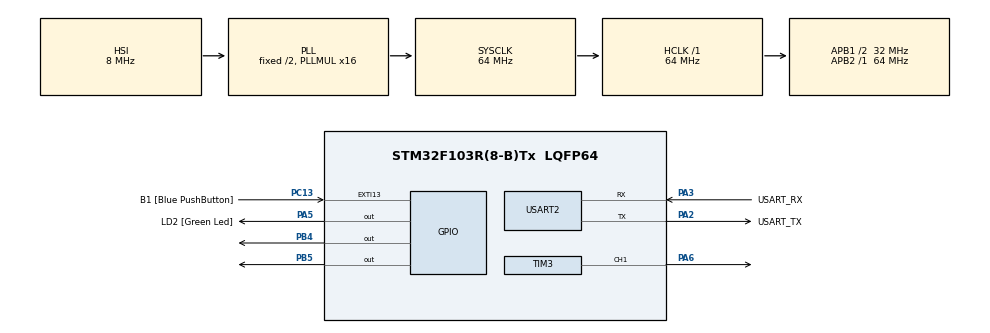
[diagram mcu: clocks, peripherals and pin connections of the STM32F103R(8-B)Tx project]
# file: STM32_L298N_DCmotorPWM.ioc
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Mcu.Family=STM32F1
Mcu.Name=STM32F103R(8-B)Tx
Mcu.Package=LQFP64
NVIC.EXTI15_10_IRQn=true\:0\:0\:false\:false\:true\:true\:true\:true
NVIC.PriorityGroup=NVIC_PRIORITYGROUP_4
PA13.GPIO_Label=TMS
PA13.Mode=Serial_Wire
PA13.Signal=SYS_JTMS-SWDIO
PA14.GPIO_Label=TCK
PA14.Mode=Serial_Wire
PA14.Signal=SYS_JTCK-SWCLK
PA2.GPIO_Label=USART_TX
PA2.GPIO_Mode=GPIO_MODE_AF_PP
PA2.GPIO_PuPd=GPIO_NOPULL
PA2.GPIO_Speed=GPIO_SPEED_FREQ_LOW
PA2.Mode=Asynchronous
PA2.Signal=USART2_TX
PA3.GPIO_Label=USART_RX
PA3.GPIO_Mode=GPIO_MODE_AF_PP
PA3.GPIO_PuPd=GPIO_NOPULL
PA3.GPIO_Speed=GPIO_SPEED_FREQ_LOW
PA3.Mode=Asynchronous
PA3.Signal=USART2_RX
PA5.GPIO_Label=LD2 [Green Led]
PA5.GPIO_ModeDefaultOutputPP=GPIO_MODE_OUTPUT_PP
PA5.GPIO_PuPd=GPIO_NOPULL
PA5.GPIO_Speed=GPIO_SPEED_FREQ_LOW
PA5.Signal=GPIO_Output
PA6.Signal=S_TIM3_CH1
PB3.GPIO_Label=SWO
PB3.Signal=SYS_JTDO-TRACESWO
PB4.Signal=GPIO_Output
PB5.Signal=GPIO_Output
PC13-TAMPER-RTC.GPIO_Label=B1 [Blue PushButton]
PC13-TAMPER-RTC.GPIO_PuPd=GPIO_NOPULL
PC13-TAMPER-RTC.Signal=GPXTI13
PC14-OSC32_IN.Mode=LSE-External-Oscillator
PC14-OSC32_IN.Signal=RCC_OSC32_IN
PC15-OSC32_OUT.Mode=LSE-External-Oscillator
PC15-OSC32_OUT.Signal=RCC_OSC32_OUT
PD0-OSC_IN.Mode=HSE-External-Oscillator
PD0-OSC_IN.Signal=RCC_OSC_IN
PD1-OSC_OUT.Mode=HSE-External-Oscillator
PD1-OSC_OUT.Signal=RCC_OSC_OUT
ProjectManager.HeapSize=0x200
ProjectManager.StackSize=0x400
ProjectManager.TargetToolchain=STM32CubeIDE
RCC.AHBFreq_Value=64000000
RCC.APB1CLKDivider=RCC_HCLK_DIV2
RCC.APB1Freq_Value=32000000
RCC.APB1TimFreq_Value=64000000
RCC.APB2Freq_Value=64000000
RCC.APB2TimFreq_Value=64000000
RCC.HCLKFreq_Value=64000000
RCC.PLLMUL=RCC_PLL_MUL16
RCC.RTCClockSelection=RCC_RTCCLKSOURCE_LSE
RCC.SYSCLKFreq_VALUE=64000000
RCC.SYSCLKSource=RCC_SYSCLKSOURCE_PLLCLK
RCC.USBFreq_Value=64000000
SH.S_TIM3_CH1.0=TIM3_CH1,PWM Generation1 CH1
TIM3.Channel-PWM\ Generation1\ CH1=TIM_CHANNEL_1
TIM3.Prescaler=71
USART2.VirtualMode=VM_ASYNC
board=NUCLEO-F103RB

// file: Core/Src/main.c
/* USER CODE BEGIN Header */
/**
  ******************************************************************************
  * @file           : main.c
  * @brief          : Main program body
  ******************************************************************************
  * @attention
  *
  * Copyright (c) 2025 STMicroelectronics.
  * All rights reserved.
  *
  * This software is licensed under terms that can be found in the LICENSE file
  * in the root directory of this software component.
  * If no LICENSE file comes with this software, it is provided AS-IS.
  *
  ******************************************************************************
  */
/* USER CODE END Header */
#include "main.h"

TIM_HandleTypeDef htim3;

UART_HandleTypeDef huart2;

/* USER CODE BEGIN PV */

#define EN_DUTY_MAX 49  // TIM3 ARR값과 동일 (0~49)

/* USER CODE END PV */

void SystemClock_Config(void);
static void MX_GPIO_Init(void);
static void MX_USART2_UART_Init(void);
static void MX_TIM3_Init(void);

/* USER CODE BEGIN 0 */

// 모터 방향 설정 함수
static void motor_forward(void) {
  HAL_GPIO_WritePin(GPIOB, GPIO_PIN_4, GPIO_PIN_SET);   // IN1=1
  HAL_GPIO_WritePin(GPIOB, GPIO_PIN_5, GPIO_PIN_RESET); // IN2=0
}

static void motor_reverse(void) {
  HAL_GPIO_WritePin(GPIOB, GPIO_PIN_4, GPIO_PIN_RESET); // IN1=0
  HAL_GPIO_WritePin(GPIOB, GPIO_PIN_5, GPIO_PIN_SET);   // IN2=1
}

static void motor_brake(void) {
  HAL_GPIO_WritePin(GPIOB, GPIO_PIN_4, GPIO_PIN_SET);   // IN1=1
  HAL_GPIO_WritePin(GPIOB, GPIO_PIN_5, GPIO_PIN_SET);   // IN2=1
}

static void motor_coast(void) {
  HAL_GPIO_WritePin(GPIOB, GPIO_PIN_4, GPIO_PIN_RESET); // IN1=0
  HAL_GPIO_WritePin(GPIOB, GPIO_PIN_5, GPIO_PIN_RESET); // IN2=0
}

// 듀티 설정 (0~EN_DUTY_MAX)
static void motor_set_duty(uint16_t duty) {
  if (duty > EN_DUTY_MAX) duty = EN_DUTY_MAX;
  __HAL_TIM_SET_COMPARE(&htim3, TIM_CHANNEL_1, duty);
}

/* USER CODE END 0 */

int main(void)
{

  /* MCU Configuration--------------------------------------------------------*/

  /* Reset of all peripherals, Initializes the Flash interface and the Systick. */
  HAL_Init();

  /* Configure the system clock */
  SystemClock_Config();

  /* Initialize all configured peripherals */
  MX_GPIO_Init();
  MX_USART2_UART_Init();
  MX_TIM3_Init();
  /* USER CODE BEGIN 2 */

  HAL_TIM_PWM_Start(&htim3, TIM_CHANNEL_1);

  /* USER CODE END 2 */

  /* Infinite loop */
  /* USER CODE BEGIN WHILE */
  while (1)
  {

	  motor_forward();
	    motor_set_duty(20); HAL_Delay(1500);
	    motor_set_duty(40); HAL_Delay(1500);

	    motor_coast(); motor_set_duty(0); HAL_Delay(1500);

	    motor_reverse();
	    motor_set_duty(25); HAL_Delay(2000);

	    motor_brake(); motor_set_duty(0); HAL_Delay(1000);

    /* USER CODE END WHILE */

  }
}

void SystemClock_Config(void)
{
  RCC_OscInitTypeDef RCC_OscInitStruct = {0};
  RCC_ClkInitTypeDef RCC_ClkInitStruct = {0};

  /** Initializes the RCC Oscillators according to the specified parameters
  * in the RCC_OscInitTypeDef structure.
  */
  RCC_OscInitStruct.OscillatorType = RCC_OSCILLATORTYPE_HSI;
  RCC_OscInitStruct.HSIState = RCC_HSI_ON;
  RCC_OscInitStruct.HSICalibrationValue = RCC_HSICALIBRATION_DEFAULT;
  RCC_OscInitStruct.PLL.PLLState = RCC_PLL_ON;
  RCC_OscInitStruct.PLL.PLLSource = RCC_PLLSOURCE_HSI_DIV2;
  RCC_OscInitStruct.PLL.PLLMUL = RCC_PLL_MUL16;
  if (HAL_RCC_OscConfig(&RCC_OscInitStruct) != HAL_OK)
  {
    Error_Handler();
  }

  /** Initializes the CPU, AHB and APB buses clocks
  */
  RCC_ClkInitStruct.ClockType = RCC_CLOCKTYPE_HCLK|RCC_CLOCKTYPE_SYSCLK
                              |RCC_CLOCKTYPE_PCLK1|RCC_CLOCKTYPE_PCLK2;
  RCC_ClkInitStruct.SYSCLKSource = RCC_SYSCLKSOURCE_PLLCLK;
  RCC_ClkInitStruct.AHBCLKDivider = RCC_SYSCLK_DIV1;
  RCC_ClkInitStruct.APB1CLKDivider = RCC_HCLK_DIV2;
  RCC_ClkInitStruct.APB2CLKDivider = RCC_HCLK_DIV1;

  if (HAL_RCC_ClockConfig(&RCC_ClkInitStruct, FLASH_LATENCY_2) != HAL_OK)
  {
    Error_Handler();
  }
}

static void MX_TIM3_Init(void)
{

  TIM_MasterConfigTypeDef sMasterConfig = {0};
  TIM_OC_InitTypeDef sConfigOC = {0};

  htim3.Instance = TIM3;
  htim3.Init.Prescaler = 71;
  htim3.Init.CounterMode = TIM_COUNTERMODE_UP;
  htim3.Init.Period = 49;
  htim3.Init.ClockDivision = TIM_CLOCKDIVISION_DIV1;
  htim3.Init.AutoReloadPreload = TIM_AUTORELOAD_PRELOAD_DISABLE;
  if (HAL_TIM_PWM_Init(&htim3) != HAL_OK)
  {
    Error_Handler();
  }
  sMasterConfig.MasterOutputTrigger = TIM_TRGO_RESET;
  sMasterConfig.MasterSlaveMode = TIM_MASTERSLAVEMODE_DISABLE;
  if (HAL_TIMEx_MasterConfigSynchronization(&htim3, &sMasterConfig) != HAL_OK)
  {
    Error_Handler();
  }
  sConfigOC.OCMode = TIM_OCMODE_PWM1;
  sConfigOC.Pulse = 0;
  sConfigOC.OCPolarity = TIM_OCPOLARITY_HIGH;
  sConfigOC.OCFastMode = TIM_OCFAST_DISABLE;
  if (HAL_TIM_PWM_ConfigChannel(&htim3, &sConfigOC, TIM_CHANNEL_1) != HAL_OK)
  {
    Error_Handler();
  }
  HAL_TIM_MspPostInit(&htim3);

}

static void MX_USART2_UART_Init(void)
{

  huart2.Instance = USART2;
  huart2.Init.BaudRate = 115200;
  huart2.Init.WordLength = UART_WORDLENGTH_8B;
  huart2.Init.StopBits = UART_STOPBITS_1;
  huart2.Init.Parity = UART_PARITY_NONE;
  huart2.Init.Mode = UART_MODE_TX_RX;
  huart2.Init.HwFlowCtl = UART_HWCONTROL_NONE;
  huart2.Init.OverSampling = UART_OVERSAMPLING_16;
  if (HAL_UART_Init(&huart2) != HAL_OK)
  {
    Error_Handler();
  }

}

static void MX_GPIO_Init(void)
{
  GPIO_InitTypeDef GPIO_InitStruct = {0};

  /* GPIO Ports Clock Enable */
  __HAL_RCC_GPIOC_CLK_ENABLE();
  __HAL_RCC_GPIOD_CLK_ENABLE();
  __HAL_RCC_GPIOA_CLK_ENABLE();
  __HAL_RCC_GPIOB_CLK_ENABLE();

  /*Configure GPIO pin Output Level */
  HAL_GPIO_WritePin(LD2_GPIO_Port, LD2_Pin, GPIO_PIN_RESET);

  /*Configure GPIO pin Output Level */
  HAL_GPIO_WritePin(GPIOB, GPIO_PIN_4|GPIO_PIN_5, GPIO_PIN_RESET);

  /*Configure GPIO pin : B1_Pin */
  GPIO_InitStruct.Pin = B1_Pin;
  GPIO_InitStruct.Mode = GPIO_MODE_IT_RISING;
  GPIO_InitStruct.Pull = GPIO_NOPULL;
  HAL_GPIO_Init(B1_GPIO_Port, &GPIO_InitStruct);

  /*Configure GPIO pin : LD2_Pin */
  GPIO_InitStruct.Pin = LD2_Pin;
  GPIO_InitStruct.Mode = GPIO_MODE_OUTPUT_PP;
  GPIO_InitStruct.Pull = GPIO_NOPULL;
  GPIO_InitStruct.Speed = GPIO_SPEED_FREQ_LOW;
  HAL_GPIO_Init(LD2_GPIO_Port, &GPIO_InitStruct);

  /*Configure GPIO pins : PB4 PB5 */
  GPIO_InitStruct.Pin = GPIO_PIN_4|GPIO_PIN_5;
  GPIO_InitStruct.Mode = GPIO_MODE_OUTPUT_PP;
  GPIO_InitStruct.Pull = GPIO_NOPULL;
  GPIO_InitStruct.Speed = GPIO_SPEED_FREQ_LOW;
  HAL_GPIO_Init(GPIOB, &GPIO_InitStruct);

  /* EXTI interrupt init*/
  HAL_NVIC_SetPriority(EXTI15_10_IRQn, 0, 0);
  HAL_NVIC_EnableIRQ(EXTI15_10_IRQn);

}

void Error_Handler(void)
{
  __disable_irq();
  while (1)
  {
  }
}
